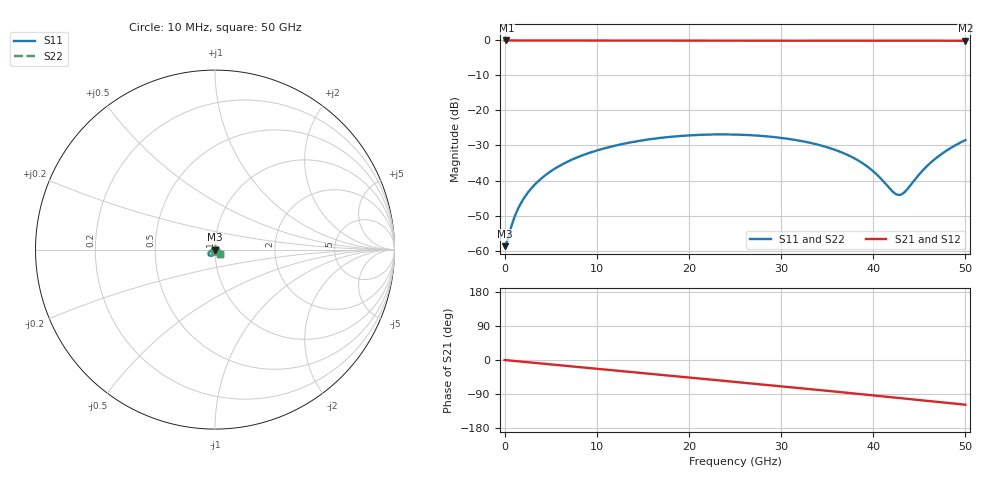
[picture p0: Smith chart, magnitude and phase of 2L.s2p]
! AWR Design Environment (6079) Mon Jan 19 09:55:49 2015
! Simulator:
! Ports: 2, Freqs: 1001
# GHz S RI R 50
!Freq  ReS11  ImS11  ReS21  ImS21  ReS12  ImS12  ReS22  ImS22
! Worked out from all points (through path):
!   1001 points, 10 MHz to 50 GHz, reference 50 ohm
!   highest |S21| = -0.01 dB at 210 MHz (marker M1); lowest = -0.1 dB at 50 GHz (marker M2)
!   group delay of S21, straight-line fit = 6.53 ps
!   lowest |S11| = -58.7 dB at 10 MHz (marker M3), VSWR 1.00, Z = 50.1 - j0.0018 ohm
!   |S11| at or under -10 dB: start of sweep to end of sweep
!   |S22| runs from -58.7 to -26.8 dB; largest |S21 - S12| = 0
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0.01  0.00115 -1.8e-05  0.9988 -0.000414  0.9988 -0.000414  0.00115 -1.8e-05
0.21  0.00115 -0.000531  0.9988 -0.00843  0.9988 -0.00843  0.00115 -0.000531
0.91  0.00113 -0.00234  0.9981 -0.0365  0.9981 -0.0365  0.00113 -0.00234
1.41  0.00109 -0.00365  0.9971 -0.0566  0.9971 -0.0566  0.00109 -0.00365
2.06  0.001 -0.00537  0.995 -0.0826  0.995 -0.0826  0.001 -0.00537
2.91  0.000802 -0.00768  0.9913 -0.1168  0.9913 -0.1168  0.000803 -0.00768
5.21  -0.000408 -0.0141  0.9752 -0.2083  0.9752 -0.2083  -0.000408 -0.0141
8.36  -0.00405 -0.0223  0.9402 -0.3301  0.9402 -0.3301  -0.00405 -0.0223
12.21  -0.0112 -0.0299  0.877 -0.4701  0.877 -0.4701  -0.0112 -0.0299
16.71  -0.0211 -0.0343  0.7758 -0.6193  0.7758 -0.6193  -0.0211 -0.0343
25.01  -0.0349 -0.0288  0.5286 -0.8394  0.5286 -0.8394  -0.0349 -0.0288
29.46  -0.0358 -0.0208  0.369 -0.9199  0.369 -0.9199  -0.0358 -0.0208
33.36  -0.0314 -0.0132  0.2171 -0.9659  0.2171 -0.9659  -0.0314 -0.0132
36.06  -0.0253 -0.00886  0.1068 -0.9842  0.1068 -0.9842  -0.0253 -0.00888
38.26  -0.0186 -0.00644  0.0148 -0.9906  0.0148 -0.9906  -0.0186 -0.00646
40.01  -0.0124 -0.00548  -0.0593 -0.9896  -0.0593 -0.9896  -0.0124 -0.00551
41.71  -0.00563 -0.00553  -0.1313 -0.9832  -0.1313 -0.9832  -0.00563 -0.00556
42.51  -0.00229 -0.00592  -0.1651 -0.9783  -0.1651 -0.9783  -0.0023 -0.00595
43.16  0.000489 -0.00643  -0.1925 -0.9734  -0.1925 -0.9734  0.000484 -0.00646
46.51  0.0153 -0.0118  -0.3299 -0.9351  -0.3299 -0.9351  0.0153 -0.0118
48.21  0.0228 -0.0163  -0.3963 -0.9072  -0.3963 -0.9072  0.0228 -0.0164
50  0.0304 -0.0224  -0.4626 -0.872  -0.4626 -0.872  0.0304 -0.0225
